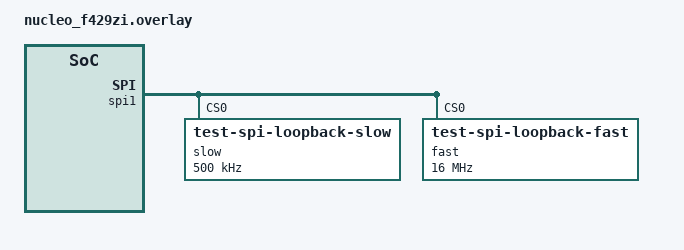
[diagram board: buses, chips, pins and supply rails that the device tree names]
/*
 * Copyright (c) 2020 STMicroelectronics
 *
 * SPDX-License-Identifier: Apache-2.0
 */

&spi1 {
	dmas = <&dma2 5 3 STM32_DMA_PERIPH_TX STM32_DMA_FIFO_FULL>,
	       <&dma2 2 3 STM32_DMA_PERIPH_RX STM32_DMA_FIFO_FULL>;
	dma-names = "tx", "rx";
};

&spi1 {
	status = "okay";

	slow@0 {
		compatible = "test-spi-loopback-slow";
		reg = <0>;
		spi-max-frequency = <DT_FREQ_K(500)>;
	};

	fast@0 {
		compatible = "test-spi-loopback-fast";
		reg = <0>;
		spi-max-frequency = <DT_FREQ_M(16)>;
	};
};

&dma2 {
	status = "okay";
};
